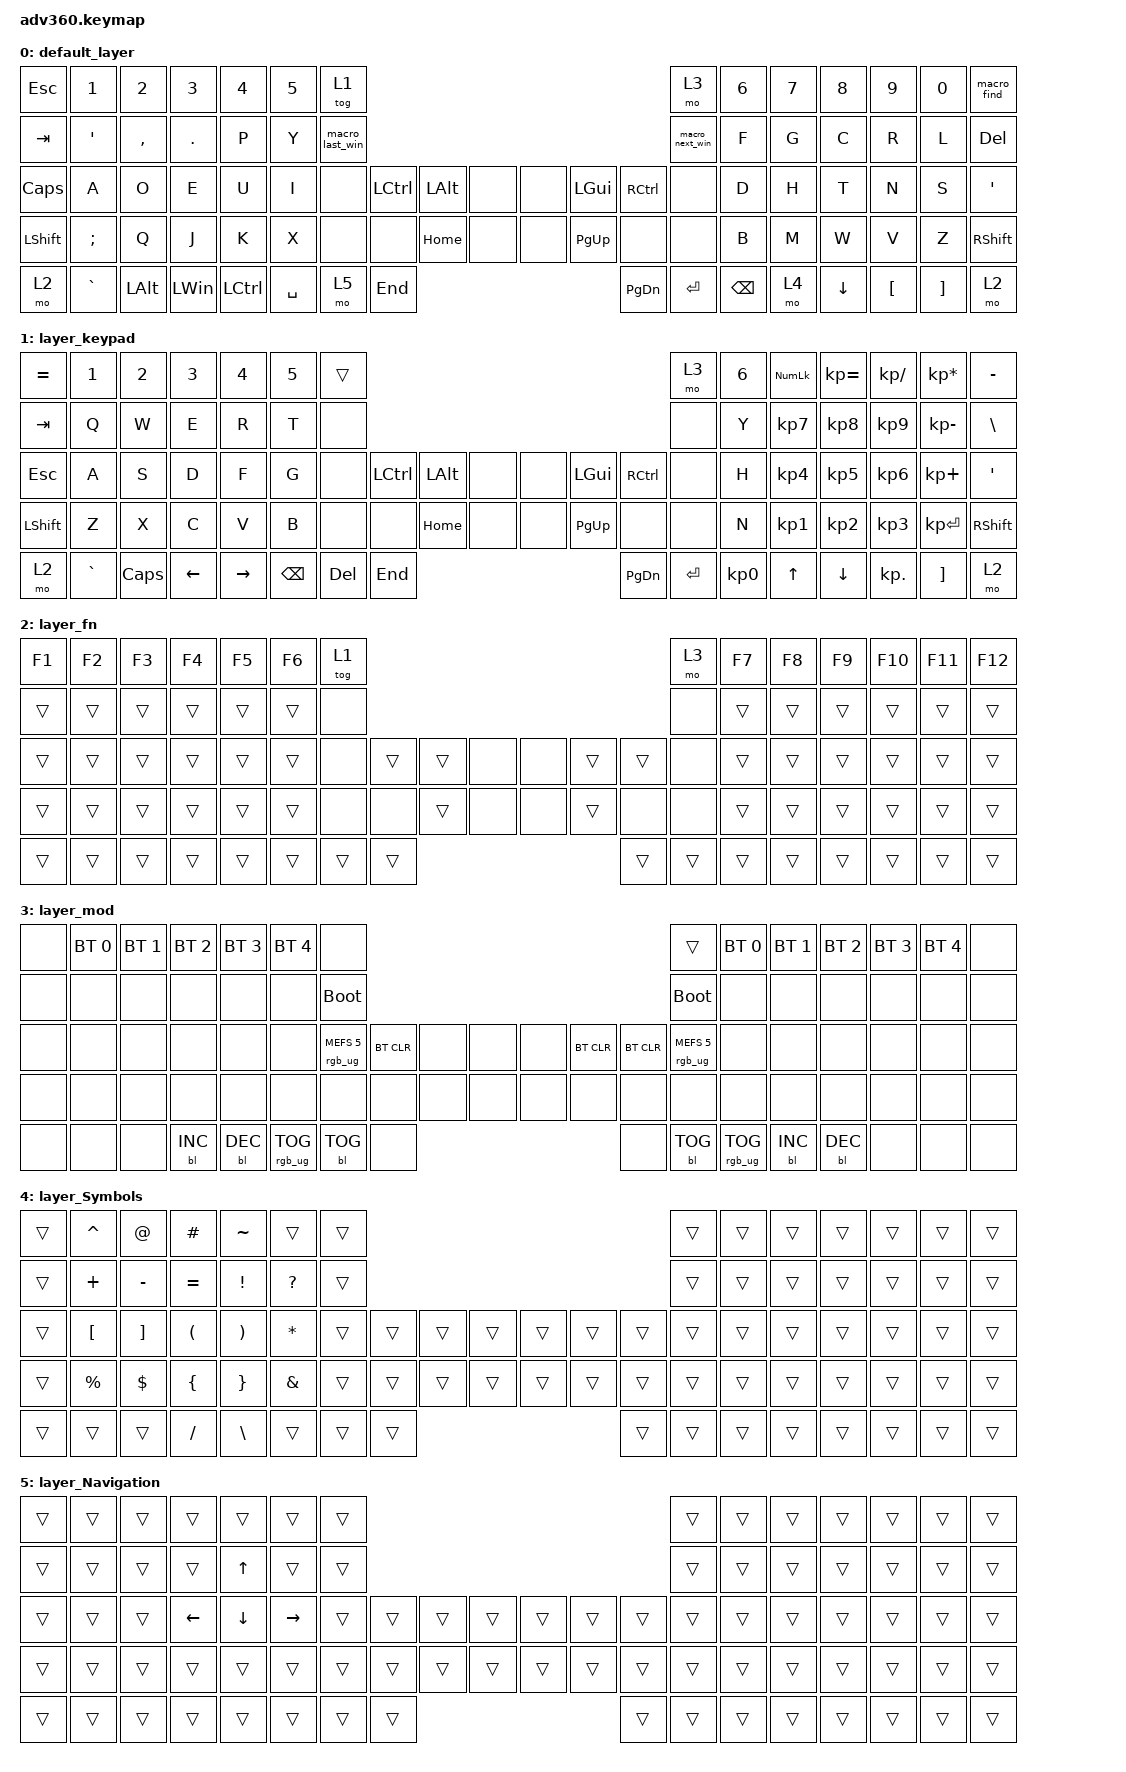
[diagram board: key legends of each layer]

/*
 * Copyright (c) 2020 The ZMK Contributors
 *
 * SPDX-License-Identifier: MIT
 */


/* THIS FILE WAS GENERATED!
 *
 * This file was generated automatically. You may or may not want to
 * edit it directly.
 */

#include <behaviors.dtsi>
#include <dt-bindings/zmk/keys.h>
#include <dt-bindings/zmk/bt.h>
#include <dt-bindings/zmk/rgb.h>
#include <dt-bindings/zmk/backlight.h>

/ {
  behaviors {
    #include "macros.dtsi"

    hm: homerow_mods {
        compatible = "zmk,behavior-hold-tap";
        label = "HOMEROW_MODS";
        #binding-cells = <2>;
        tapping-term-ms = <200>;
        quick_tap_ms = <175>;
        flavor = "tap-preferred";
        bindings = <&kp>, <&kp>;
    };
  };

    keymap {
        compatible = "zmk,keymap";


        default_layer {
            bindings = <
   &kp ESCAPE            &kp N1        &kp N2        &kp N3            &kp N4  &kp N5                     &tog 1                                                                       &mo 3  &kp N6  &kp N7    &kp N8    &kp N9    &kp N0  &macro_find
      &kp TAB  &kp SINGLE_QUOTE     &kp COMMA    &kp PERIOD             &kp P   &kp Y            &macro_last_win                                                             &macro_next_win   &kp F   &kp G     &kp C     &kp R     &kp L   &kp DELETE
 &kp CAPSLOCK             &kp A         &kp O         &kp E             &kp U   &kp I                      &none  &kp LCTRL  &kp LALT   &none   &none   &kp LGUI  &kp RCTRL            &none   &kp D   &kp H     &kp T     &kp N     &kp S      &kp SQT
    &kp LSHFT     &kp SEMICOLON         &kp Q         &kp J             &kp K   &kp X                      &none      &none  &kp HOME   &none   &none  &kp PG_UP      &none            &none   &kp B   &kp M     &kp W     &kp V     &kp Z    &kp RSHFT
        &mo 2         &kp GRAVE  &kp LEFT_ALT  &kp LEFT_WIN  &kp LEFT_CONTROL                          &kp SPACE      &mo 5   &kp END                  &kp PG_DN  &kp ENTER    &kp BACKSPACE           &mo 4  &kp DOWN  &kp LBKT  &kp RBKT        &mo 2
            >;
        };

        layer_keypad {
            bindings = <
 &kp EQUAL     &kp N1    &kp N2    &kp N3     &kp N4  &kp N5              &trans                                                                 &mo 3  &kp N6  &kp KP_NUM  &kp KP_EQUAL  &kp KP_DIVIDE  &kp KP_MULTIPLY  &kp MINUS
   &kp TAB      &kp Q     &kp W     &kp E      &kp R   &kp T               &none                                                                 &none   &kp Y   &kp KP_N7     &kp KP_N8      &kp KP_N9     &kp KP_MINUS   &kp BSLH
   &kp ESC      &kp A     &kp S     &kp D      &kp F   &kp G               &none  &kp LCTRL  &kp LALT   &none   &none   &kp LGUI  &kp RCTRL      &none   &kp H   &kp KP_N4     &kp KP_N5      &kp KP_N6      &kp KP_PLUS    &kp SQT
 &kp LSHFT      &kp Z     &kp X     &kp C      &kp V   &kp B               &none      &none  &kp HOME   &none   &none  &kp PG_UP      &none      &none   &kp N   &kp KP_N1     &kp KP_N2      &kp KP_N3     &kp KP_ENTER  &kp RSHFT
     &mo 2  &kp GRAVE  &kp CAPS  &kp LEFT  &kp RIGHT                    &kp BSPC    &kp DEL   &kp END                  &kp PG_DN  &kp ENTER  &kp KP_N0              &kp UP      &kp DOWN     &kp KP_DOT         &kp RBKT      &mo 2
            >;
        };

        layer_fn {
            bindings = <
 &kp F1  &kp F2  &kp F3  &kp F4  &kp F5  &kp F6            &tog 1                                                   &mo 3  &kp F7  &kp F8  &kp F9  &kp F10  &kp F11  &kp F12
 &trans  &trans  &trans  &trans  &trans  &trans             &none                                                   &none  &trans  &trans  &trans   &trans   &trans   &trans
 &trans  &trans  &trans  &trans  &trans  &trans             &none  &trans  &trans   &none   &none  &trans  &trans   &none  &trans  &trans  &trans   &trans   &trans   &trans
 &trans  &trans  &trans  &trans  &trans  &trans             &none   &none  &trans   &none   &none  &trans   &none   &none  &trans  &trans  &trans   &trans   &trans   &trans
 &trans  &trans  &trans  &trans  &trans                    &trans  &trans  &trans                  &trans  &trans  &trans          &trans  &trans   &trans   &trans   &trans
            >;
        };

        layer_mod {
            bindings = <
  &none  &bt BT_SEL 0  &bt BT_SEL 1  &bt BT_SEL 2  &bt BT_SEL 3  &bt BT_SEL 4                             &none                                                                              &trans  &bt BT_SEL 0  &bt BT_SEL 1  &bt BT_SEL 2  &bt BT_SEL 3  &bt BT_SEL 4   &none
  &none         &none         &none         &none         &none         &none                       &bootloader                                                                         &bootloader         &none         &none         &none         &none         &none   &none
  &none         &none         &none         &none         &none         &none            &rgb_ug RGB_MEFS_CMD 5  &bt BT_CLR   &none   &none   &none  &bt BT_CLR  &bt BT_CLR  &rgb_ug RGB_MEFS_CMD 5         &none         &none         &none         &none         &none   &none
  &none         &none         &none         &none         &none         &none                             &none       &none   &none   &none   &none       &none       &none                   &none         &none         &none         &none         &none         &none   &none
  &none         &none         &none    &bl BL_INC    &bl BL_DEC                                 &rgb_ug RGB_TOG  &bl BL_TOG   &none                       &none  &bl BL_TOG         &rgb_ug RGB_TOG                  &bl BL_INC    &bl BL_DEC         &none         &none   &none
            >;
        };

        layer_Symbols {
            bindings = <
 &trans         &kp CARET             &kp AT             &kp POUND              &kp TILDE         &trans            &trans                                                  &trans  &trans  &trans  &trans  &trans  &trans  &trans
 &trans          &kp PLUS          &kp MINUS             &kp EQUAL        &kp EXCLAMATION   &kp QUESTION            &trans                                                  &trans  &trans  &trans  &trans  &trans  &trans  &trans
 &trans  &kp LEFT_BRACKET  &kp RIGHT_BRACKET  &kp LEFT_PARENTHESIS  &kp RIGHT_PARENTHESIS   &kp ASTERISK            &trans  &trans  &trans  &trans  &trans  &trans  &trans  &trans  &trans  &trans  &trans  &trans  &trans  &trans
 &trans       &kp PERCENT         &kp DOLLAR        &kp LEFT_BRACE        &kp RIGHT_BRACE  &kp AMPERSAND            &trans  &trans  &trans  &trans  &trans  &trans  &trans  &trans  &trans  &trans  &trans  &trans  &trans  &trans
 &trans            &trans             &trans             &kp SLASH          &kp BACKSLASH                           &trans  &trans  &trans                  &trans  &trans  &trans          &trans  &trans  &trans  &trans  &trans
            >;
        };

        layer_Navigation {
            bindings = <
 &trans  &trans  &trans          &trans          &trans           &trans            &trans                                                  &trans  &trans  &trans  &trans  &trans  &trans  &trans
 &trans  &trans  &trans          &trans    &kp UP_ARROW           &trans            &trans                                                  &trans  &trans  &trans  &trans  &trans  &trans  &trans
 &trans  &trans  &trans  &kp LEFT_ARROW  &kp DOWN_ARROW  &kp RIGHT_ARROW            &trans  &trans  &trans  &trans  &trans  &trans  &trans  &trans  &trans  &trans  &trans  &trans  &trans  &trans
 &trans  &trans  &trans          &trans          &trans           &trans            &trans  &trans  &trans  &trans  &trans  &trans  &trans  &trans  &trans  &trans  &trans  &trans  &trans  &trans
 &trans  &trans  &trans          &trans          &trans                             &trans  &trans  &trans                  &trans  &trans  &trans          &trans  &trans  &trans  &trans  &trans
            >;
        };

    };
};
